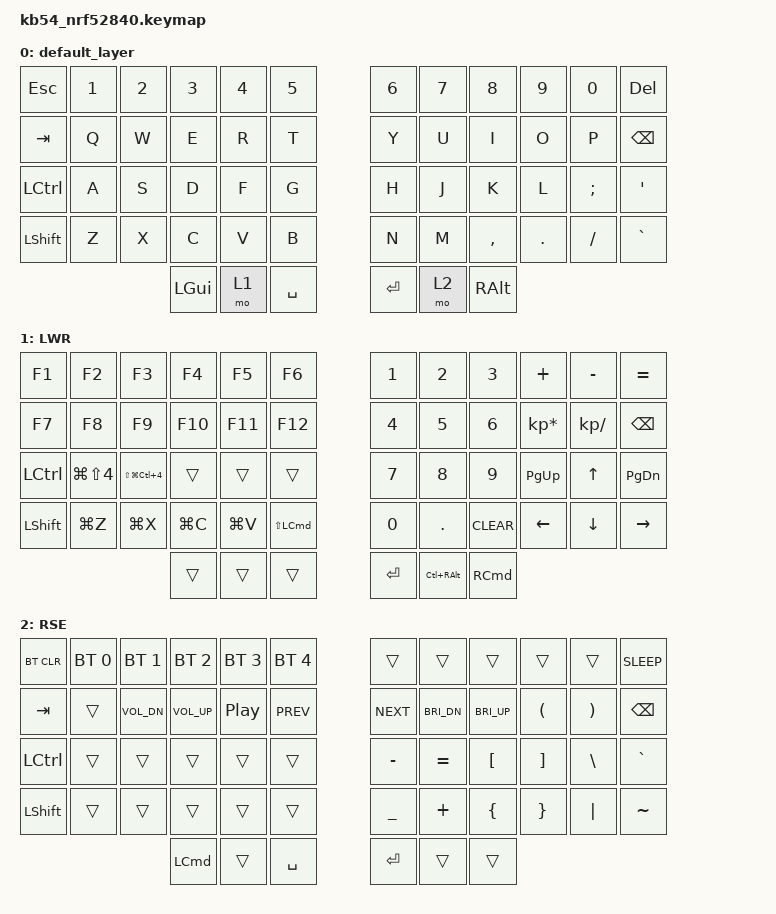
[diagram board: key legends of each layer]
/*
 * Copyright (c) 2020 The ZMK Contributors
 *
 * SPDX-License-Identifier: MIT
 */

#include <behaviors.dtsi>
#include <dt-bindings/zmk/bt.h>
#include <dt-bindings/zmk/keys.h>

/ {
    keymap {
        compatible = "zmk,keymap";

        default_layer {
            // -----------------------------------------------------------------------------------------
            // |   `  |  1  |  2  |  3  |  4  |  5  |   |  6  |  7   |  8  |  9  |  0  |  DEL |
            // |  TAB |  Q  |  W  |  E  |  R  |  T  |   |  Y  |  U   |  I  |  O  |  P  | BSPC |
            // | CTRL |  A  |  S  |  D  |  F  |  G  |   |  H  |  J   |  K  |  L  |  ;  |  '   |
            // | SHFT |  Z  |  X  |  C  |  V  |  B  |   |  N  |  M   |  ,  |  .  |  /  | ESC  |
            //                    | GUI | LWR | SPC |   | ENT | RSE  | ALT |

            bindings = <
&kp ESCAPE  &kp N1  &kp N2  &kp N3    &kp N4  &kp N5       &kp N6   &kp N7  &kp N8     &kp N9   &kp N0    &kp DELETE
&kp TAB     &kp Q   &kp W   &kp E     &kp R   &kp T        &kp Y    &kp U   &kp I      &kp O    &kp P     &kp BACKSPACE
&kp LCTRL   &kp A   &kp S   &kp D     &kp F   &kp G        &kp H    &kp J   &kp K      &kp L    &kp SEMI  &kp SQT
&kp LSHFT   &kp Z   &kp X   &kp C     &kp V   &kp B        &kp N    &kp M   &kp COMMA  &kp DOT  &kp FSLH  &kp GRAVE
                            &kp LGUI  &mo 1   &kp SPACE    &kp RET  &mo 2   &kp RALT
            >;
        };

        lower_layer {
            display-name = "LWR";
            label = "LWR";

            // -----------------------------------------------------------------------------------------
            // |  F1  |  F2 |  F3 |  F4 |  F5 |  F6 |   |  1  |  2  |  3  |  9  |  0  |  DEL |
            // |  TAB |  !  |  @  |  #  |  $  |  %  |   |  4  |  5  |  6  |  (  |  )  | BSPC |
            // | BTCLR| BT1 | BT2 | BT3 | BT4 | BT5 |   | LFT | DWN |  UP | RGT |     |      |
            // | SHFT |     |     |     |     |     |   |     |     |     |     |     |      |
            //                    | GUI |     | SPC |   | ENT |     | ALT |

            bindings = <
&kp F1            &kp F2                &kp F3                    &kp F4     &kp F5     &kp F6                  &kp N1   &kp N2             &kp N3             &kp PLUS         &kp MINUS      &kp EQUAL
&kp F7            &kp F8                &kp F9                    &kp F10    &kp F11    &kp F12                 &kp N4   &kp N5             &kp N6             &kp KP_MULTIPLY  &kp KP_DIVIDE  &kp BACKSPACE
&kp LEFT_CONTROL  &kp LG(LS(NUMBER_4))  &kp LS(LG(LC(NUMBER_4)))  &trans     &trans     &trans                  &kp N7   &kp N8             &kp N9             &kp PAGE_UP      &kp UP_ARROW   &kp PAGE_DOWN
&kp LEFT_SHIFT    &kp LG(Z)             &kp LG(X)                 &kp LG(C)  &kp LG(V)  &kp LS(LEFT_COMMAND)    &kp N0   &kp DOT            &kp CLEAR          &kp LEFT         &kp DOWN       &kp RIGHT
                                                                  &trans     &trans     &trans                  &kp RET  &kp LC(RIGHT_ALT)  &kp RIGHT_COMMAND
            >;
        };

        raise_layer {
            display-name = "RSE";
            label = "RSE";

            // -----------------------------------------------------------------------------------------
            // |   `  |  1  |  2  |  3  |  4  |  5  |   |  6  |  7  |  8  |  9  |  0  |  DEL |
            // |  TAB |     |VOL- |VOL+ | P/P | PRV |   | NXT | BR- | BR+ |  (  |  )  | BSPC |
            // | CTRL |     |     |     |     |     |   |  -  |  =  |  [  |  ]  |  \  |  `   |
            // | SHFT |     |     |     |     |     |   |  _  |  +  |  {  |  }  | "|" |  ~   |
            //                    | GUI |     | SPC |   | ENT |     | ALT |

            bindings = <
&bt BT_CLR  &bt BT_SEL 0  &bt BT_SEL 1  &bt BT_SEL 2  &bt BT_SEL 3  &bt BT_SEL 4    &trans      &trans        &trans        &trans    &trans    &kp K_SLEEP
&kp TAB     &trans        &kp C_VOL_DN  &kp C_VOL_UP  &kp C_PP      &kp C_PREV      &kp C_NEXT  &kp C_BRI_DN  &kp C_BRI_UP  &kp LPAR  &kp RPAR  &kp BSPC
&kp LCTRL   &trans        &trans        &trans        &trans        &trans          &kp MINUS   &kp EQUAL     &kp LBKT      &kp RBKT  &kp BSLH  &kp GRAVE
&kp LSHFT   &trans        &trans        &trans        &trans        &trans          &kp UNDER   &kp PLUS      &kp LBRC      &kp RBRC  &kp PIPE  &kp TILDE
                                        &kp LCMD      &trans        &kp SPACE       &kp RET     &trans        &trans
            >;
        };
    };
};
